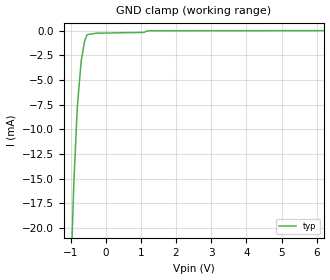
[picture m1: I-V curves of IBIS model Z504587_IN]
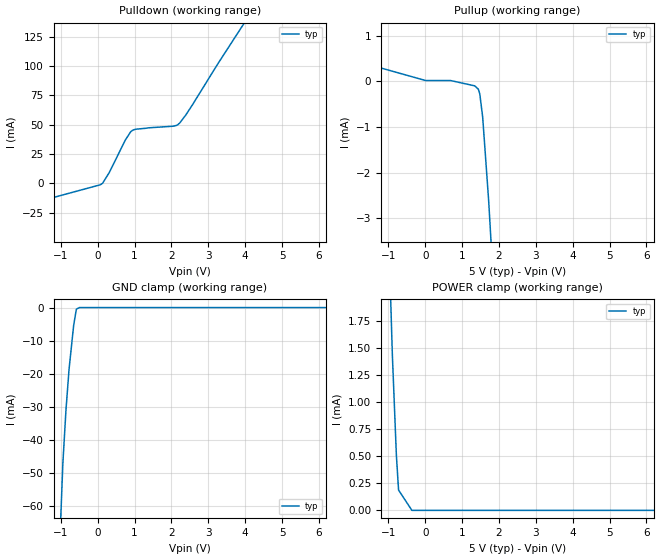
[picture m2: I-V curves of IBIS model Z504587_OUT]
| YOU ARE ONLY AUTHORIZED TO USE THIS SOFTWARE
| ACCORDING TO LICENSOR'S LICENSE RESTRICTIONS.
[IBIS Ver] 3.1
[File Name] sn74ls193d.ibs
[File Rev] 2.0
[Source] Measured and created by ICX Technology
[Date] Friday 7/14/00 9:08:18 AM
[Copyright]
| (C) COPYRIGHT 1993-2000
| MENTOR GRAPHICS CORPORATION
| ICX STANDARD LIBRARY, ICX PROJECT MODELING,
| ICX CUSTOM MODELING, ICX VENDOR MODEL
| ALL RIGHTS RESERVED.
| THE FOLLOWING ARE TRADEMARKS OR SERVICE MARKS OF
| MENTOR GRAPHICS CORPORATION:ICX (R), ICX STANDARD
| LIBRARY(R), ICX PROJECT MODELING(R), ICX CUSTOM
| MODELING(R), qualityIBIS(TM), MODELVIEWER(TM),
| AND MODELEDITOR(TM)
| ALL COPIES OF SOFTWARE, INCLUDING BUT NOT LIMITED TO
| ANY MODIFICATIONS, ENHANCEMENTS OR DERIVATIVE WORKS,
| MUST CONTAIN ALL MENTOR GRAPHICS CORPORATION'S
| NOTICES AND LEGENDS, INCLUDING THOSE EMBEDDED IN
| SOFTWARE AND THOSE AFFIXED TO SOFTWARE MEDIUM
| AND CONTAINER, AS RECEIVED FROM MENTOR GRAPHICS
| CORPORATION.
|  ZAP Model Builder 2.7
[Component] SN74LS193D
[Manufacturer] OnSemiconductor
[Package]
| variable   typ   min   max
R_pkg  .156ohms NA NA
L_pkg  3.148nH NA NA
C_pkg  .388pF NA NA
[Pin] signal_name  model_name  R_pin  L_pin C_pin
1 B Z504587_IN .162 3.798n .418p
2 QB Z504587_OUT .158 3.358n .398p
3 QA Z504587_OUT .154 2.928n .378p
4 DOWN Z504587_IN .15 2.508n .358p
5 UP Z504587_IN .15 2.508n .358p
6 QC Z504587_OUT .154 2.928n .378p
7 QD Z504587_OUT .158 3.358n .398p
8 GND GND .162 3.798n .418p
9 D Z504587_IN .162 3.798n .418p
10 C Z504587_IN .158 3.358n .398p
11 _LOAD Z504587_IN .154 2.928n .378p
12 _CO Z504587_OUT .15 2.508n .358p
13 _BO Z504587_OUT .15 2.508n .358p
14 CLR Z504587_IN .154 2.928n .378p
15 A Z504587_IN .158 3.358n .398p
16 VCC POWER .162 3.798n .418p
| Models and submodels in the file (2): Z504587_IN (Input), Z504587_OUT (Output)
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| (C) COPYRIGHT 1993-2000
| MENTOR GRAPHICS CORPORATION
| ICX STANDARD LIBRARY, ICX PROJECT MODELING,
| ICX CUSTOM MODELING, ICX VENDOR MODEL
| ALL RIGHTS RESERVED.
| THE FOLLOWING ARE TRADEMARKS OR SERVICE MARKS OF
| MENTOR GRAPHICS CORPORATION:ICX (R), ICX STANDARD
| LIBRARY(R), ICX PROJECT MODELING(R), ICX CUSTOM
| MODELING(R), qualityIBIS(TM), MODELVIEWER(TM),
| AND MODELEDITOR(TM)
| ALL COPIES OF SOFTWARE, INCLUDING BUT NOT LIMITED TO
| ANY MODIFICATIONS, ENHANCEMENTS OR DERIVATIVE WORKS,
| MUST CONTAIN ALL MENTOR GRAPHICS CORPORATION'S
| NOTICES AND LEGENDS, INCLUDING THOSE EMBEDDED IN
| SOFTWARE AND THOSE AFFIXED TO SOFTWARE MEDIUM
| AND CONTAINER, AS RECEIVED FROM MENTOR GRAPHICS
| CORPORATION.
| Model Application Version 1.89 2/18/99.
[Model] Z504587_IN
Model_type Input
Vinl = 800.0mV
Vinh = 2.000V
C_comp 4.000pF NA NA
| variable typ   min   max
[Voltage Range] 5.000V NA NA
[GND Clamp Reference] 0.000V NA NA
[POWER Clamp Reference] 5.000V NA NA
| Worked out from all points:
|   GND clamp passes 1 mA (typ) near -0.60 V on its own axis
[GND Clamp]
-5V       -476.2mA   NA         NA
-908.4mV  -15.58mA   NA         NA
-808.9mV  -7.761mA   NA         NA
-698.2mV  -3.098mA   NA         NA
-600.1mV  -1.025mA   NA         NA
-527.3mV  -402uA     NA         NA
-263.7mV  -252.7uA   NA         NA
1.089V    -170.1uA   NA         NA
1.168V    -33.67uA   NA         NA
1.246V    -5.013uA   NA         NA
10V       13.83uA    NA         NA
[POWER Clamp]
-5V       0A         NA         NA
10V       0A         NA         NA
| (C) COPYRIGHT 1993-2000
| MENTOR GRAPHICS CORPORATION
| ICX STANDARD LIBRARY, ICX PROJECT MODELING,
| ICX CUSTOM MODELING, ICX VENDOR MODEL
| ALL RIGHTS RESERVED.
| THE FOLLOWING ARE TRADEMARKS OR SERVICE MARKS OF
| MENTOR GRAPHICS CORPORATION:ICX (R), ICX STANDARD
| LIBRARY(R), ICX PROJECT MODELING(R), ICX CUSTOM
| MODELING(R), qualityIBIS(TM), MODELVIEWER(TM),
| AND MODELEDITOR(TM)
| ALL COPIES OF SOFTWARE, INCLUDING BUT NOT LIMITED TO
| ANY MODIFICATIONS, ENHANCEMENTS OR DERIVATIVE WORKS,
| MUST CONTAIN ALL MENTOR GRAPHICS CORPORATION'S
| NOTICES AND LEGENDS, INCLUDING THOSE EMBEDDED IN
| SOFTWARE AND THOSE AFFIXED TO SOFTWARE MEDIUM
| AND CONTAINER, AS RECEIVED FROM MENTOR GRAPHICS
| CORPORATION.
| Model Application Version 1.89 2/18/99.
[Model] Z504587_OUT
Model_type Output
Vref=5.000V
Rref=2.000kohms
Cref=15.00pF
Vmeas=1.300V
C_comp 8.000pF NA NA
| variable typ   min   max
[Voltage Range] 5.000V NA NA
[POWER Clamp Reference] 5.000V NA NA
[Pullup Reference] 5.000V NA NA
[Pulldown Reference] 0.000V NA NA
[GND Clamp Reference] 0.000V NA NA
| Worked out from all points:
|   slope of the pulldown table from 0 to 0.75 V, typ, clamps not added: 19.3 ohm
|   slope of the pullup table from 0 to 0.75 V, typ, clamps not added: 55.9 kohm
|   GND clamp passes 1 mA (typ) near -0.59 V on its own axis
|   POWER clamp passes 1 mA (typ) near -0.84 V on its own axis
[GND Clamp]
-5V       -1.595A    NA         NA
-1.113V   -94.9mA    NA         NA
-946.9mV  -47.16mA   NA         NA
-862.8mV  -31.04mA   NA         NA
-778.5mV  -18.62mA   NA         NA
-654mV    -5.426mA   NA         NA
-581.1mV  -478.9uA   NA         NA
-498.1mV  0A         NA         NA
10V       0A         NA         NA
[Pulldown]
-5V       -44.29mA   NA         NA
68.55mV   -1.143mA   NA         NA
131.8mV   155.2uA    NA         NA
320.3mV   9.758mA    NA         NA
747.1mV   36.93mA    NA         NA
895.5mV   44.13mA    NA         NA
1.035V    46.25mA    NA         NA
2.051V    48.78mA    NA         NA
2.171V    50.01mA    NA         NA
2.382V    58mA       NA         NA
3.247V    101.4mA    NA         NA
10V       428.7mA    NA         NA
[Pullup]
-5V       1.148mA    NA         NA
7.5mV     16.01uA    NA         NA
684mV     16.01uA    NA         NA
1.343V    -101uA     NA         NA
1.44V     -173.8uA   NA         NA
1.479V    -273.8uA   NA         NA
1.558V    -783uA     NA         NA
1.719V    -2.594mA   NA         NA
10V       -117.2mA   NA         NA
[POWER Clamp]
-5V       47.89mA    NA         NA
-893mV    1.438mA    NA         NA
-783mV    505uA      NA         NA
-724mV    186.7uA    NA         NA
-362mV    0A         NA         NA
10V       0A         NA         NA
[Ramp]
| variable typ min max
dV/dt_r 1.750/7.707n NA NA
dV/dt_f 1.750/2.586n NA NA
R_load = 500.0Ohms
